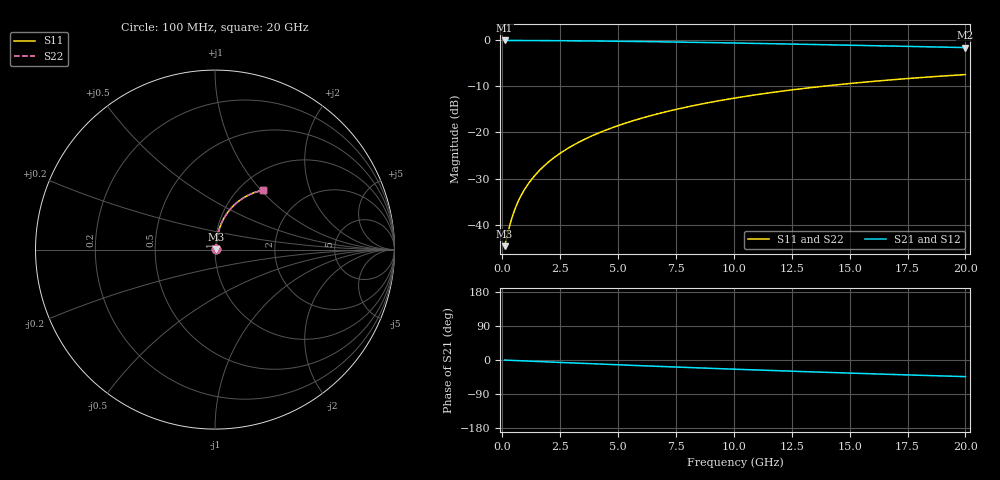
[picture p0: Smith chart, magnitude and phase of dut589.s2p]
! Touchstone file exported from HFSS 2024.1.0
!  File:  C:/UserFiles/LocalFiles/RDL_TSV_Batchsim/temp_RDL_top_589_1779682388.aedt
!  Generated:  12:15:35 PM May 25, 2026
!  Design:  RDL_top
!  Project:  temp_RDL_top_589_1779682388
!  Setup:  Setup1
!  Solution:  Sweep
! Variables:
!  dtsv = 10.80580581um
!  hbump = 3um
!  htsv = 70.32um
!  ldown = 100um
!  lrdl = 618.99um
!  p = 40
!  p1 = 42.17um
!  rhole = 1um
!  t = 450um
!  tdown = 3.915915916um
!  trdl = 2.64um
!  wdown = 15.38538539um
!  wrdl = 16.27um
# GHz S MA R 50.000000
! Terminal data exported
! Port[1] = Box2_T1
! Port[2] = Box2_T2
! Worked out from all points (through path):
!   200 points, 100 MHz to 20 GHz, reference 50 ohm
!   highest |S21| = -0.05 dB at 100 MHz (marker M1); lowest = -1.6 dB at 20 GHz (marker M2)
!   group delay of S21, straight-line fit = 6.09 ps
!   lowest |S11| = -44.7 dB at 100 MHz (marker M3), VSWR 1.01, Z = 50.5 + j0.258 ohm
!   |S11| at or under -10 dB: start of sweep to 13.82 GHz
!   |S22| runs from -44.7 to -7.5 dB; largest |S21 - S12| = 2.6e-15
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0.1  0.005846 25.9  0.9947 -0.3  0.9947 -0.3  0.005846 25.9
! Gamma 0 0 0 0
! Port Impedance 50 0 50 0
0.3  0.009369 53.8  0.9945 -0.8  0.9945 -0.8  0.009369 53.8
0.4  0.01152 60.1  0.9942 -1.1  0.9942 -1.1  0.01152 60.1
0.5  0.01373 64.3  0.994 -1.3  0.994 -1.3  0.01373 64.3
0.6  0.01596 67.3  0.9938 -1.6  0.9938 -1.6  0.01596 67.3
0.7  0.0182 69.6  0.9936 -1.9  0.9936 -1.9  0.0182 69.6
0.9  0.0227 72.7  0.9932 -2.4  0.9932 -2.4  0.0227 72.7
1.2  0.0295 75.6  0.9925 -3.1  0.9925 -3.1  0.02949 75.5
1.4  0.03406 76.8  0.992 -3.6  0.992 -3.6  0.03406 76.8
1.7  0.04095 78.1  0.9912 -4.4  0.9912 -4.4  0.04095 78.0
2.2  0.05253 79.2  0.9897 -5.7  0.9897 -5.7  0.05252 79.2
2.8  0.06655 79.7  0.9874 -7.2  0.9874 -7.2  0.06654 79.6
3.5  0.08302 79.6  0.9842 -9.0  0.9842 -9.0  0.08301 79.5
4.2  0.09959 79.1  0.9804 -10.7  0.9804 -10.7  0.09957 79.0
5  0.1186 78.2  0.9754 -12.7  0.9754 -12.7  0.1186 78.2
5.9  0.14 77.0  0.9691 -14.8  0.9691 -14.8  0.1399 76.9
6.8  0.1613 75.6  0.9622 -17.0  0.9622 -17.0  0.1613 75.5
8.4  0.1988 72.8  0.9486 -20.7  0.9486 -20.7  0.1987 72.7
10.1  0.2375 69.6  0.9328 -24.5  0.9328 -24.5  0.2373 69.6
13.4  0.3079 63.3  0.9 -31.4  0.9 -31.4  0.3076 63.2
16.7  0.3704 57.0  0.8662 -37.9  0.8662 -37.9  0.3701 57.0
20  0.4245 51.2  0.8328 -43.9  0.8328 -43.9  0.424 51.1
